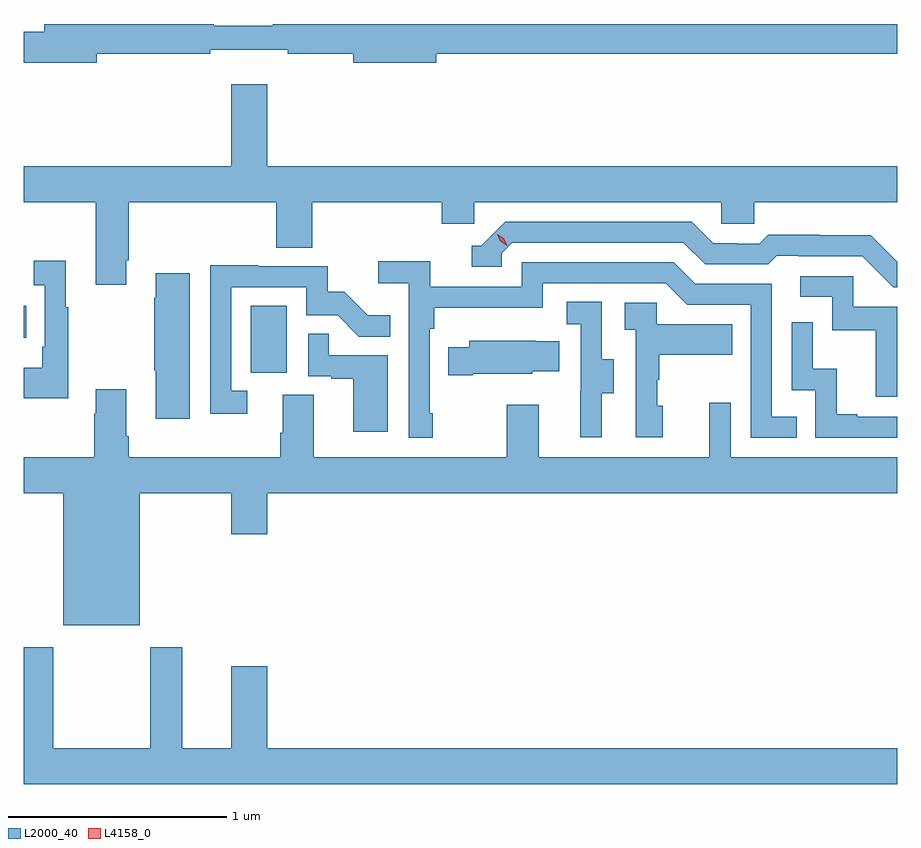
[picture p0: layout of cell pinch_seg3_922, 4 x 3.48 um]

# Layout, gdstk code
import gdstk
lib = gdstk.Library(unit=1e-6, precision=1e-09)
def R(c, l, rs):  # rectangles x0, y0, x1, y1
    for r in rs: c.add(gdstk.rectangle(r[:2], r[2:], *l))
def P(c, l, *ps):  # polygons
    for p in ps: c.add(gdstk.Polygon(p, *l))
L2000_40 = (2000, 40)
L4158_0 = (4158, 0)

pinch_seg3_922 = lib.new_cell('pinch_seg3_922')
R(pinch_seg3_922, L2000_40, [(884.378,678.822,884.542,679.129), (883.338,678.983,883.349,679.131)])
P(pinch_seg3_922, L2000_40, [(883.672,680.284),(884.192,680.284),(884.192,680.303),(884.548,680.303),(884.548,680.284),(884.846,680.284),(884.846,680.242),(885.226,680.242),(885.226,680.284),(887.338,680.284),(887.338,680.42),(884.479,680.42),(884.479,680.413),(884.208,680.413),(884.208,680.42),(883.433,680.42),(883.433,680.384),(883.338,680.384),(883.338,680.242),(883.672,680.242)],
  [(883.807,679.339),(883.82,679.339),(883.82,679.604),(884.495,679.604),(884.495,679.396),(884.66,679.396),(884.66,679.604),(885.251,679.604),(885.251,679.506),(885.402,679.506),(885.402,679.604),(886.533,679.604),(886.533,679.506),(886.683,679.506),(886.683,679.604),(887.338,679.604),(887.338,679.768),(884.452,679.768),(884.452,680.143),(884.288,680.143),(884.288,679.768),(883.338,679.768),(883.338,679.604),(883.667,679.604),(883.667,679.227),(883.807,679.227)],
  [(887.338,679.331),(887.216,679.453),(886.98,679.453),(886.98,679.456),(886.747,679.456),(886.705,679.413),(886.602,679.413),(886.602,679.416),(886.495,679.416),(886.396,679.515),(885.543,679.515),(885.432,679.404),(885.389,679.404),(885.389,679.308),(885.528,679.308),(885.528,679.371),(885.576,679.419),(886.359,679.419),(886.458,679.32),(886.747,679.32),(886.786,679.359),(886.885,679.359),(886.885,679.356),(887.178,679.356),(887.319,679.215),(887.338,679.215)],
  [(883.543,679.123),(883.531,679.123),(883.531,679.336),(883.383,679.336),(883.383,679.223),(883.434,679.223),(883.434,678.943),(883.422,678.943),(883.422,678.847),(883.338,678.847),(883.338,678.707),(883.543,678.707)],
  [(885.211,678.637),(885.198,678.637),(885.198,679.025),(885.218,679.025),(885.218,679.121),(885.714,679.121),(885.714,679.233),(886.278,679.233),(886.377,679.134),(886.668,679.134),(886.668,678.525),(886.877,678.525),(886.877,678.621),(886.764,678.621),(886.764,679.23),(886.414,679.23),(886.315,679.329),(885.618,679.329),(885.618,679.218),(885.2,679.218),(885.2,679.334),(884.961,679.334),(884.961,679.232),(885.102,679.232),(885.102,678.525),(885.211,678.525)],
  [(884.362,678.741),(884.289,678.741),(884.289,679.215),(884.631,679.215),(884.631,679.086),(884.775,679.086),(884.873,678.988),(885.017,678.988),(885.017,679.087),(884.913,679.087),(884.806,679.194),(884.73,679.194),(884.73,679.311),(884.411,679.311),(884.411,679.316),(884.193,679.316),(884.193,678.636),(884.362,678.636)],
  [(884.098,679.279),(883.943,679.279),(883.943,679.166),(883.936,679.166),(883.936,678.835),(883.943,678.835),(883.943,678.612),(884.098,678.612)],
  [(887.338,679.125),(887.136,679.125),(887.136,679.266),(886.893,679.266),(886.893,679.17),(887.04,679.17),(887.04,679.017),(887.239,679.017),(887.239,678.714),(887.338,678.714)],
  [(885.985,678.73),(886.039,678.73),(886.039,678.885),(885.984,678.885),(885.984,679.148),(885.825,679.148),(885.825,679.045),(885.888,679.045),(885.888,678.741),(885.887,678.741),(885.887,678.528),(885.985,678.528)],
  [(886.264,678.672),(886.239,678.672),(886.239,678.791),(886.249,678.791),(886.249,678.905),(886.583,678.905),(886.583,679.045),(886.236,679.045),(886.236,679.143),(886.089,679.143),(886.089,679.019),(886.14,679.019),(886.14,678.528),(886.264,678.528)],
  [(887.338,678.621),(887.155,678.621),(887.155,678.634),(887.06,678.634),(887.06,678.842),(886.95,678.842),(886.95,679.054),(886.854,679.054),(886.854,678.744),(886.962,678.744),(886.962,678.525),(887.338,678.525)],
  [(885.004,678.903),(884.735,678.903),(884.735,679.001),(884.64,679.001),(884.64,678.807),(884.747,678.807),(884.747,678.795),(884.846,678.795),(884.846,678.552),(885.004,678.552)],
  [(885.394,678.818),(885.666,678.818),(885.666,678.83),(885.791,678.83),(885.791,678.967),(885.683,678.967),(885.683,678.97),(885.377,678.97),(885.377,678.94),(885.283,678.94),(885.283,678.811),(885.394,678.811)],
  [(883.87,678.272),(884.288,678.272),(884.288,678.084),(884.452,678.084),(884.452,678.272),(887.338,678.272),(887.338,678.436),(886.575,678.436),(886.575,678.685),(886.478,678.685),(886.478,678.436),(885.697,678.436),(885.697,678.676),(885.55,678.676),(885.55,678.436),(884.665,678.436),(884.665,678.722),(884.525,678.722),(884.525,678.548),(884.513,678.548),(884.513,678.436),(883.82,678.436),(883.82,678.532),(883.807,678.532),(883.807,678.748),(883.667,678.748),(883.667,678.635),(883.66,678.635),(883.66,678.436),(883.338,678.436),(883.338,678.272),(883.52,678.272),(883.52,677.666),(883.87,677.666)],
  [(887.338,677.104),(884.452,677.104),(884.452,677.479),(884.288,677.479),(884.288,677.104),(884.065,677.104),(884.065,677.566),(883.918,677.566),(883.918,677.104),(883.473,677.104),(883.473,677.566),(883.338,677.566),(883.338,676.94),(887.338,676.94)])
P(pinch_seg3_922, L4158_0, [(885.551,679.405),(885.521,679.425),(885.506,679.457),(885.506,679.458),(885.506,679.458),(885.536,679.438),(885.551,679.405),(885.551,679.405)])

lib.write_gds('pinch_seg3_922.gds')
